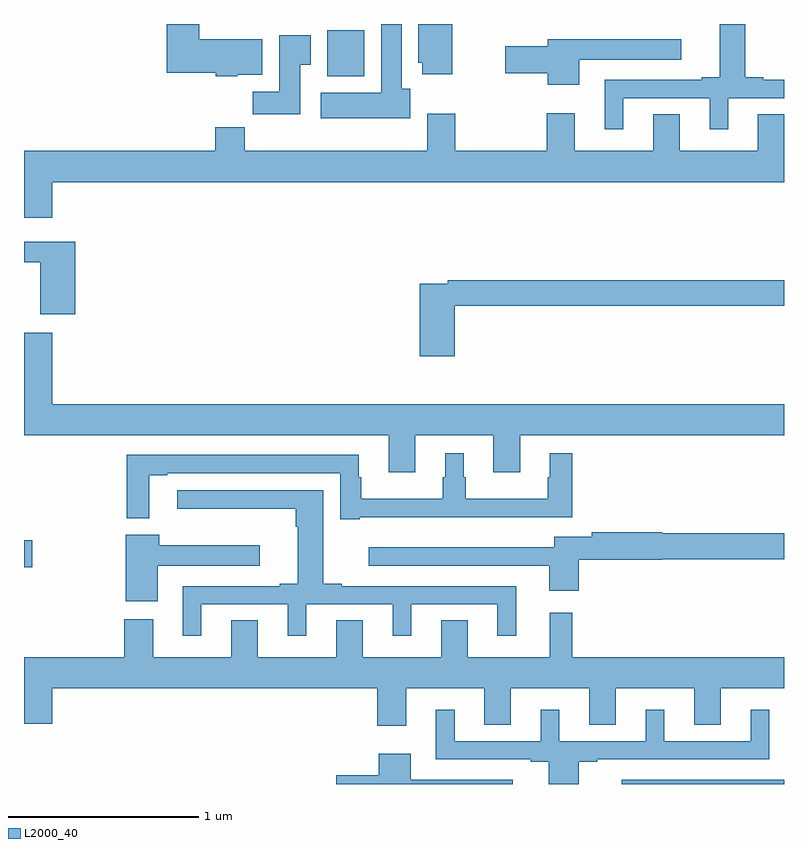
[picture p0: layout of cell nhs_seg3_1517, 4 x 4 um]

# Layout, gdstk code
import gdstk
lib = gdstk.Library(unit=1e-6, precision=1e-09)
def R(c, l, rs):  # rectangles x0, y0, x1, y1
    for r in rs: c.add(gdstk.rectangle(r[:2], r[2:], *l))
def P(c, l, *ps):  # polygons
    for p in ps: c.add(gdstk.Polygon(p, *l))
L2000_40 = (2000, 40)

nhs_seg3_1517 = lib.new_cell('nhs_seg3_1517')
R(nhs_seg3_1517, L2000_40, [(192.147,712.4,193,712.422), (189,713.542,189.043,713.684), (190.595,716.126,190.792,716.368)])
P(nhs_seg3_1517, L2000_40, [(191.032,716.058),(190.987,716.058),(190.987,716.4),(190.88,716.4),(190.88,716.038),(190.563,716.038),(190.563,715.904),(191.032,715.904)],
  [(191.254,716.4),(191.075,716.4),(191.075,716.196),(191.096,716.196),(191.096,716.136),(191.254,716.136)],
  [(190.122,716.132),(190.255,716.132),(190.255,716.32),(189.922,716.32),(189.922,716.4),(189.752,716.4),(189.752,716.144),(190.008,716.144),(190.008,716.126),(190.122,716.126)],
  [(192.154,716.01),(192.608,716.01),(192.608,715.845),(192.706,715.845),(192.706,716.01),(193,716.01),(193,716.106),(192.892,716.106),(192.892,716.119),(192.796,716.119),(192.796,716.4),(192.662,716.4),(192.662,716.119),(192.566,716.119),(192.566,716.106),(192.056,716.106),(192.056,715.845),(192.154,715.845)],
  [(190.453,716.185),(190.51,716.185),(190.51,716.341),(190.343,716.341),(190.343,716.044),(190.204,716.044),(190.204,715.926),(190.453,715.926)],
  [(191.923,716.213),(192.46,716.213),(192.46,716.32),(191.756,716.32),(191.756,716.282),(191.532,716.282),(191.532,716.14),(191.756,716.14),(191.756,716.079),(191.923,716.079)],
  [(189.148,715.568),(193,715.568),(193,715.925),(192.863,715.925),(192.863,715.732),(192.451,715.732),(192.451,715.925),(192.311,715.925),(192.311,715.732),(191.899,715.732),(191.899,715.93),(191.752,715.93),(191.752,715.732),(191.271,715.732),(191.271,715.927),(191.123,715.927),(191.123,715.732),(190.163,715.732),(190.163,715.856),(190.007,715.856),(190.007,715.732),(189,715.732),(189,715.38),(189.148,715.38)],
  [(189.269,715.254),(189,715.254),(189,715.146),(189.086,715.146),(189.086,714.873),(189.269,714.873)],
  [(191.267,714.916),(193,714.916),(193,715.052),(191.23,715.052),(191.23,715.032),(191.084,715.032),(191.084,714.651),(191.267,714.651)],
  [(191.059,714.236),(191.471,714.236),(191.471,714.042),(191.611,714.042),(191.611,714.236),(193,714.236),(193,714.4),(189.148,714.4),(189.148,714.775),(189,714.775),(189,714.236),(190.919,714.236),(190.919,714.042),(191.059,714.042)],
  [(190.768,713.804),(191.885,713.804),(191.885,714.142),(191.768,714.142),(191.768,714.014),(191.757,714.014),(191.757,713.902),(191.326,713.902),(191.326,714.014),(191.314,714.014),(191.314,714.142),(191.216,714.142),(191.216,714.014),(191.205,714.014),(191.205,713.902),(190.774,713.902),(190.774,714.014),(190.762,714.014),(190.762,714.132),(189.541,714.132),(189.541,713.799),(189.658,713.799),(189.658,714.024),(189.754,714.024),(189.754,714.036),(190.665,714.036),(190.665,713.793),(190.768,713.793)],
  [(189.934,713.346),(190.388,713.346),(190.388,713.181),(190.486,713.181),(190.486,713.346),(190.94,713.346),(190.94,713.181),(191.038,713.181),(191.038,713.346),(191.492,713.346),(191.492,713.181),(191.591,713.181),(191.591,713.442),(190.672,713.442),(190.672,713.455),(190.576,713.455),(190.576,713.946),(189.807,713.946),(189.807,713.849),(190.43,713.849),(190.43,713.753),(190.442,713.753),(190.442,713.455),(190.346,713.455),(190.346,713.442),(189.836,713.442),(189.836,713.181),(189.934,713.181)],
  [(191.921,713.579),(192.36,713.579),(192.36,713.584),(193,713.584),(193,713.72),(192.36,713.72),(192.36,713.726),(191.988,713.726),(191.988,713.701),(191.792,713.701),(191.792,713.647),(190.815,713.647),(190.815,713.55),(191.765,713.55),(191.765,713.418),(191.921,713.418)],
  [(189.703,713.549),(190.24,713.549),(190.24,713.656),(189.713,713.656),(189.713,713.713),(189.536,713.713),(189.536,713.361),(189.703,713.361)],
  [(191.011,712.904),(191.423,712.904),(191.423,712.711),(191.563,712.711),(191.563,712.904),(191.975,712.904),(191.975,712.711),(192.115,712.711),(192.115,712.904),(192.527,712.904),(192.527,712.711),(192.667,712.711),(192.667,712.904),(193,712.904),(193,713.068),(191.885,713.068),(191.885,713.302),(191.768,713.302),(191.768,713.068),(191.335,713.068),(191.335,713.261),(191.195,713.261),(191.195,713.068),(190.783,713.068),(190.783,713.261),(190.643,713.261),(190.643,713.068),(190.231,713.068),(190.231,713.261),(190.091,713.261),(190.091,713.068),(189.679,713.068),(189.679,713.266),(189.527,713.266),(189.527,713.068),(189,713.068),(189,712.716),(189.148,712.716),(189.148,712.904),(190.859,712.904),(190.859,712.707),(191.011,712.707)],
  [(191.92,712.518),(192.016,712.518),(192.016,712.53),(192.923,712.53),(192.923,712.792),(192.824,712.792),(192.824,712.626),(192.37,712.626),(192.37,712.792),(192.272,712.792),(192.272,712.626),(191.818,712.626),(191.818,712.792),(191.72,712.792),(191.72,712.626),(191.266,712.626),(191.266,712.792),(191.168,712.792),(191.168,712.53),(191.666,712.53),(191.666,712.518),(191.762,712.518),(191.762,712.4),(191.92,712.4)],
  [(191.572,712.423),(191.035,712.423),(191.035,712.558),(190.868,712.558),(190.868,712.446),(190.644,712.446),(190.644,712.4),(191.572,712.4)])

lib.write_gds('nhs_seg3_1517.gds')
